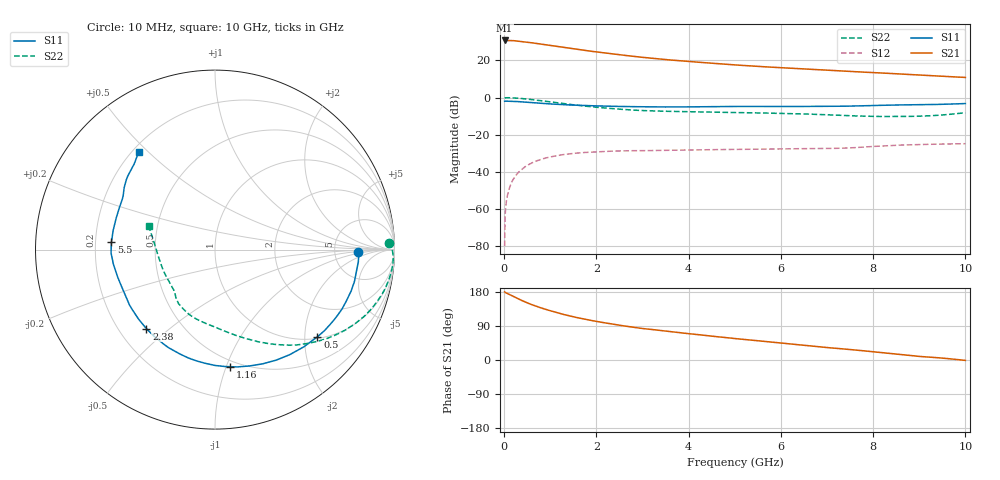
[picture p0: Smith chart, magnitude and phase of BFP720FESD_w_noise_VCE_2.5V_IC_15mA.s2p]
! Infineon Technologies  Discrete & RF Semiconductors
! BFP720FESD
! VCE =  2.5 V,  IC =  15 mA
! Common Emitter S-Parameters:  Jan 2016
# GHz  S  MA  R  50
!  f  S11  S21  S12  S22
! GHz  MAG  ANG  MAG  ANG  MAG  ANG  MAG  ANG
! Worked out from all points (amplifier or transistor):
!   233 points, 10 MHz to 10 GHz, reference 50 ohm
!   highest |S21| = 30.8 dB at 10 MHz (marker M1)
!   |S21| within 3 dB of that: start of sweep to 1.085 GHz
!   unconditionally stable (mu >= 1): start of sweep to 12.7 MHz; 5.996 GHz to end of sweep
!   at 200 MHz: K = 0.06, MSG = 37.3 dB, |S12| = -43.9 dB
!   at 1.74 GHz: K = 0.37, MSG = 27.5 dB, |S12| = -29.6 dB
!   at 10 GHz: K = 1.22, MAG = 15.0 dB, |S12| = -24.8 dB
!   lowest NFmin = 0.82 dB at 450 MHz
!   S11 on the Smith chart (normalised r, x): 10 MHz: 8.86, -0.54; 500 MHz: 1.04, -2.31; 1.16 GHz: 0.45, -1.03; 2.38 GHz: 0.31, -0.42; 5.5 GHz: 0.27, +0.03; 10 GHz: 0.22, +0.47
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0.01  0.7979 -0.8  34.58 179.8  0.0001 135.4  0.9702 2.3
0.02  0.8016 -1.8  34.58 178.5  0.0006 98.0  0.9886 -0.4
0.05  0.802 -4.5  34.48 176.7  0.0017 86.9  0.9942 -2.1
0.1  0.7978 -8.5  34.57 174.0  0.0032 85.8  0.9943 -4.8
0.2  0.7929 -16.9  34.16 167.6  0.0064 81.1  0.9828 -10.0
0.34  0.7748 -28.2  32.89 159.4  0.0105 75.3  0.9547 -16.6
0.5  0.7494 -40.4  31.1 150.9  0.0149 69.2  0.9134 -23.7
0.62  0.7298 -49.0  29.66 145.1  0.0179 65.0  0.8787 -28.3
0.78  0.7061 -59.7  27.77 138.3  0.0213 59.8  0.8321 -34.2
0.96  0.6806 -71.0  25.78 131.4  0.0246 54.7  0.7799 -40.3
1.16  0.658 -82.5  23.73 124.4  0.0277 49.6  0.7245 -46.5
1.4  0.6357 -95.0  21.45 116.8  0.0305 44.4  0.6633 -53.3
1.68  0.6157 -107.2  19.19 109.3  0.0329 39.4  0.6042 -60.1
2  0.5986 -118.9  16.95 101.9  0.0348 35.1  0.5506 -67.0
2.38  0.5827 -131.0  14.84 94.0  0.0363 31.0  0.501 -74.7
2.88  0.569 -144.3  12.6 85.1  0.0372 27.1  0.4553 -83.6
3.4  0.5603 -154.5  10.86 77.7  0.0379 25.6  0.4319 -89.9
5.1  0.5788 -179.4  7.452 55.5  0.0404 23.6  0.3951 -108.1
5.5  0.5786 176.0  6.913 50.8  0.0409 23.5  0.3884 -112.0
6.8  0.5796 158.5  5.63 35.4  0.0423 25.0  0.3526 -126.8
8.4  0.6292 141.7  4.458 16.8  0.0514 28.7  0.3103 -154.2
10  0.692 127.9  3.496 -1.0  0.0574 23.0  0.3915 160.5
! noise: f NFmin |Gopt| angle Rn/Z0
0.45  0.82  0.14  0  0.11
2.4  0.85  0.09  25  0.13
5.5  1  0.23  133  0.09
10  1.44  0.27  -137  0.13
